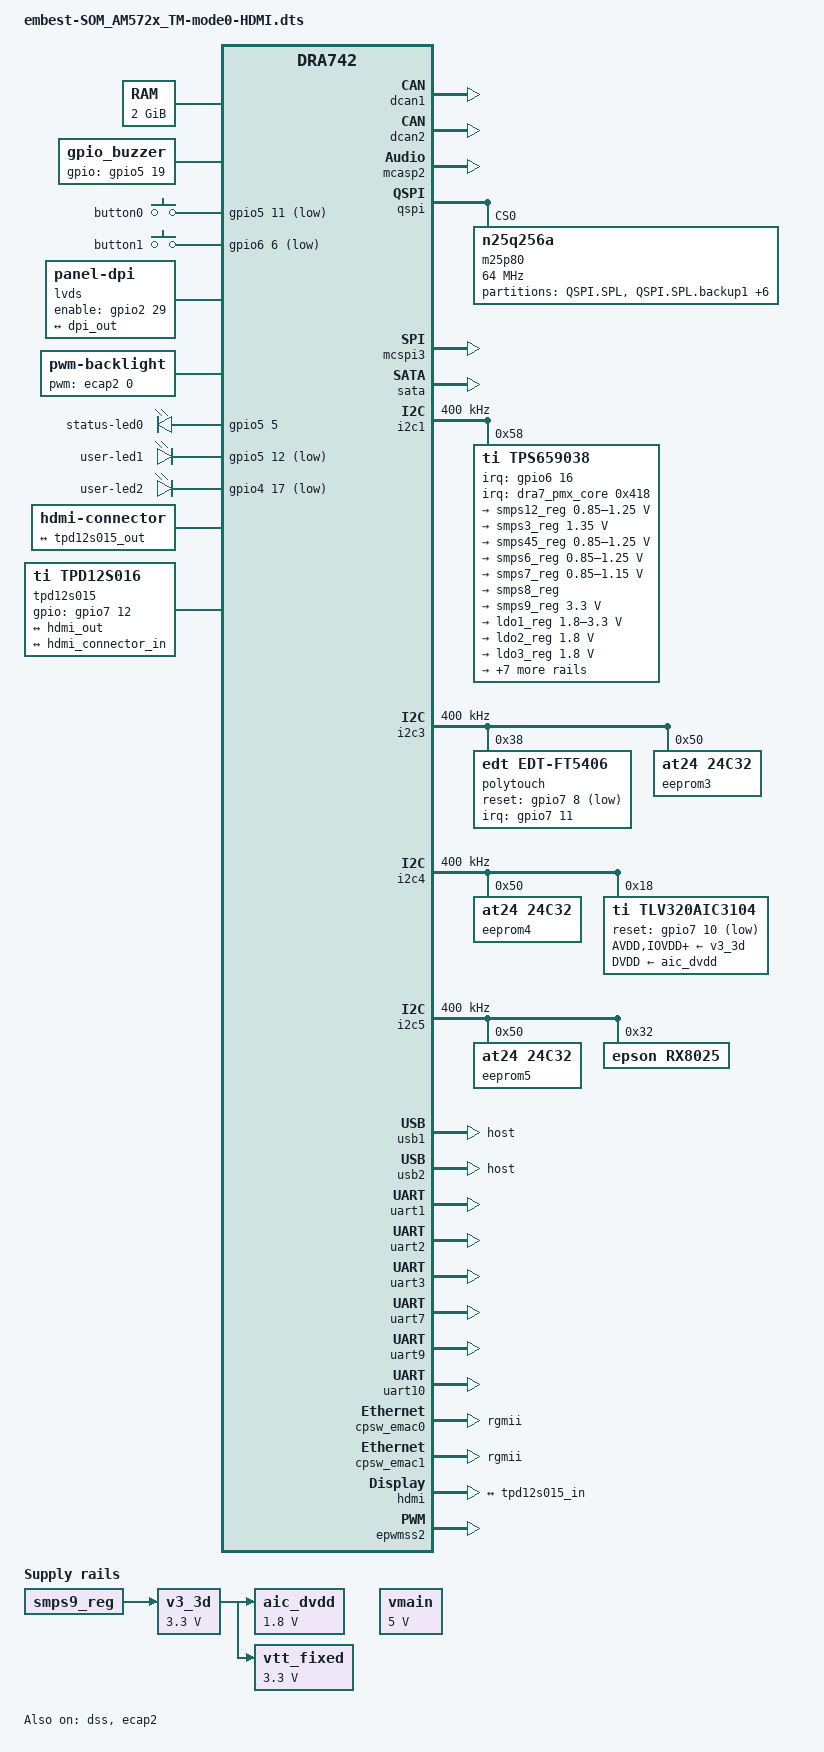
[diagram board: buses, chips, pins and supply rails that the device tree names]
/*
 * Copyright (C) 2017-2017 Embest - http://www.embest-tech.com/
 *
 * This program is free software; you can redistribute it and/or modify
 * it under the terms of the GNU General Public License version 2 as
 * published by the Free Software Foundation.
 */
/dts-v1/;

#include "dra74x.dtsi"
#include <dt-bindings/gpio/gpio.h>
#include <dt-bindings/interrupt-controller/irq.h>
#include "am57xx-idk-common.dtsi"

/ {
	compatible = "ti,am572x-beagle-x15", "ti,am5728", "ti,dra742", "ti,dra74", "ti,dra7";

	chosen {
		stdout-path = &uart3;
	};

	memory@0 {
		device_type = "memory";
		reg = <0x0 0x80000000 0x0 0x80000000>;		/*** Is size 2G? */
	};

	aliases {
//		display0 = &lcd0;
		display0 = &hdmi0;
		sound0 = &sound0;
		sound1 = &hdmi;
	};

	buzzer {
		pinctrl-names = "default";
		pinctrl-0 = <&buzzer_pin>;
		compatible = "gpio_buzzer";
		gpios = <&gpio5 19 GPIO_ACTIVE_HIGH>;
	};

	gpio_buttons: gpio_buttons@0 {
		compatible = "gpio-keys";
		pinctrl-names = "default";
	        pinctrl-0 = <&gpio_keys>;
		#address-cells = <1>;
		#size-cells = <0>;

		switch@1 {
			label = "button0";
			linux,code = <0x100>;
			gpios = <&gpio5 11 GPIO_ACTIVE_LOW>;
		};

		switch@2 {
			label = "button1";
			linux,code = <0x101>;
			gpios = <&gpio6 6 GPIO_ACTIVE_LOW>;
		};
	};

	sound0: sound0 {
                compatible = "simple-audio-card";
                simple-audio-card,name = "AM5728-Embest-TLV";
                simple-audio-card,widgets =
                        "Line", "Line Out",
			"Line", "Line In";
                simple-audio-card,routing =
			"Line Out",	"LLOUT",
			"Line Out",	"RLOUT",
			"MIC2L",	"Line In",
			"MIC2R",	"Line In";
                simple-audio-card,format = "dsp_b";
                simple-audio-card,bitclock-master = <&sound0_master>;
                simple-audio-card,frame-master = <&sound0_master>;
                simple-audio-card,bitclock-inversion;

                simple-audio-card,cpu {
                        sound-dai = <&mcasp2>;
                };

		sound0_master: simple-audio-card,codec {
                        sound-dai = <&tlv320aic3104>;
//			clocks = <&mcasp2_ahclk_mux>;
			clocks = <&clkout2_clk>;
                };
        };

	lcd0: display {
		compatible = "panel-dpi";
		label = "lvds";
 
		/*If there is a enable pin in LCD sch. you need to add this!*/
		pinctrl-names = "default";
		pinctrl-0 = <&lcd_enable_pin>;
		enable-gpios = <&gpio2 29 GPIO_ACTIVE_HIGH>;

		panel-timing {
			clock-frequency = <47500000>;
			hactive = <1024>;
			vactive = <600>;
			hfront-porch = <64>;
			hback-porch = <16>;
			hsync-len = <48>;
			vback-porch = <64>;
			vfront-porch = <16>;
			vsync-len = <3>;
			hsync-active = <1>;
			vsync-active = <1>;
			de-active = <1>;
			pixelclk-active = <1>;
		};

		port {
			lcd_in: endpoint {
				remote-endpoint = <&dpi_out>;
			};
		};
	};

	backlight {
		compatible = "pwm-backlight";
		pwms = <&ecap2 0 50000 0>;

		brightness-levels = <0 10 50 100 150 200 220 240 255>;

		default-brightness-level = <4>;
	};

	vmain: fixedregulator-vmain {
		compatible = "regulator-fixed";
		regulator-name = "VMAIN";
		regulator-min-microvolt = <5000000>;
		regulator-max-microvolt = <5000000>;
		regulator-always-on;
		regulator-boot-on;
	};

	v3_3d: fixedregulator-v3_3d {
		compatible = "regulator-fixed";
		regulator-name = "V3_3D";
		vin-supply = <&smps9_reg>;
		regulator-min-microvolt = <3300000>;
		regulator-max-microvolt = <3300000>;
		regulator-always-on;
		regulator-boot-on;
	};

	aic_dvdd: fixedregulator-aic_dvdd {
		compatible = "regulator-fixed";
		regulator-name = "aic_dvdd_fixed";
		vin-supply = <&v3_3d>;
		regulator-min-microvolt = <1800000>;
		regulator-max-microvolt = <1800000>;
		regulator-always-on;
                regulator-boot-on;

	};

	vtt_fixed: fixedregulator-vtt {
		/* TPS51200 */
		compatible = "regulator-fixed";
		regulator-name = "vtt_fixed";
		vin-supply = <&v3_3d>;
		regulator-min-microvolt = <3300000>;
		regulator-max-microvolt = <3300000>;
		regulator-always-on;
		regulator-boot-on;
	};

	src_clk_x1: src_clk_x1 {
		#clock-cells = <0>;
		compatible = "fixed-clock";
		clock-frequency = <20000000>;
	};
	
	leds {
		pinctrl-names = "default";
		pinctrl-0 = <&leds_pins_default>;
		compatible = "gpio-leds";
		led@0 {
			label = "status-led0";
			gpios = <&gpio5 5 GPIO_ACTIVE_HIGH>;
			linux,default-trigger = "heartbeat";
			default-state = "off";
		};

		led@1 {
			label = "user-led1";
			gpios = <&gpio5 12 GPIO_ACTIVE_LOW>;
			default-state = "off";
		};

		led@2 {
			label = "user-led2";
			gpios = <&gpio4 17 GPIO_ACTIVE_LOW>;
			default-state = "off";
		};
	};

	hdmi0: connector@0 {
		compatible = "hdmi-connector";
		label = "hdmi";

		type = "a";

		port {
			hdmi_connector_in: endpoint {
				remote-endpoint = <&tpd12s015_out>;
			};
		};
	};

	tpd12s015: encoder@0 {
		compatible = "ti,tpd12s016", "ti,tpd12s015";

		gpios = <0>, /* optional CT_CP_HPD */
			<0>, /* optional LS_OE */
			<&gpio7 12 GPIO_ACTIVE_HIGH>;	/* HPD */

		ports {
			#address-cells = <1>;
			#size-cells = <0>;

			port@0 {
				reg = <0>;

				tpd12s015_in: endpoint@0 {
					remote-endpoint = <&hdmi_out>;
				};
			};

			port@1 {
				reg = <1>;

				tpd12s015_out: endpoint@0 {
					remote-endpoint = <&hdmi_connector_in>;
				};
			};
		};
	};


};

&mmc1 {
	pinctrl-names = "default", "hs", "sdr12", "sdr25", "sdr50", "ddr50", "sdr104";
	pinctrl-0 = <&mmc1_pins_default>;
	pinctrl-1 = <&mmc1_pins_hs>;
	pinctrl-2 = <&mmc1_pins_sdr12>;
	pinctrl-3 = <&mmc1_pins_sdr25>;
	pinctrl-4 = <&mmc1_pins_sdr50>;
	pinctrl-5 = <&mmc1_pins_ddr50 &mmc1_iodelay_ddr50_conf>;
	pinctrl-6 = <&mmc1_pins_sdr104 &mmc1_iodelay_sdr104_conf>;
	max-frequency = <24000000>;
};

&mmc2 {
	pinctrl-names = "default", "hs", "ddr_1_8v";
	pinctrl-0 = <&mmc2_pins_default>;
	pinctrl-1 = <&mmc2_pins_hs>;
	pinctrl-2 = <&mmc2_pins_ddr_1_8v &mmc2_iodelay_ddr_1_8v_conf>;
};

&dcan1 {
	status = "okay";
	pinctrl-names = "default", "sleep", "active";
	pinctrl-0 = <&dcan1_pins_sleep>;
	pinctrl-1 = <&dcan1_pins_sleep>;
	pinctrl-2 = <&dcan1_pins_default>;
};

&dcan2 {
	status = "okay";
	pinctrl-names = "default", "sleep", "active";
	pinctrl-0 = <&dcan2_pins_sleep>;
	pinctrl-1 = <&dcan2_pins_sleep>;
	pinctrl-2 = <&dcan2_pins_default>;
};

&mcasp2 {
        #sound-dai-cells = <0>;
        pinctrl-names = "default","sleep";
        pinctrl-0 = <&mcasp2_pins_default>;
	pinctrl-1 = <&mcasp2_pins_sleep>;
        status = "okay";

	assigned-clocks = <&mcasp2_ahclkx_mux>;
	assigned-clock-parents = <&sys_clkin2>;

        op-mode = <0>;  /* MCASP_IIS_MODE */
        tdm-slots = <2>;
        /* 4 serializers */
        serial-dir = <  /* 0: INACTIVE, 1: TX, 2: RX */
                1 2 0 0
        >;
        tx-num-evt = <32>;
        rx-num-evt = <32>;
};

&qspi {
	status = "okay";

	pinctrl-names = "default";
	pinctrl-0 = <&qspi1_pins_default>;

	spi-max-frequency = <64000000>;
	m25p80@0 {
		compatible = "n25q256a";
		spi-max-frequency = <64000000>;
		reg = <0>;
		spi-tx-bus-width = <1>;
		spi-rx-bus-width = <4>;
		#address-cells = <1>;
		#size-cells = <1>;

		/*
		 * MTD partition table.
		 */
		partition@0 {
			label = "QSPI.SPL";
			reg = <0x00000000 0x000030000>;
		};
		partition@1 {
			label = "QSPI.SPL.backup1";
			reg = <0x00030000 0x00010000>;
		};
		partition@2 {
			label = "QSPI.u-boot";
			reg = <0x00040000 0x00100000>;
		};
		partition@3 {
			label = "QSPI.u-boot-spl-os";
			reg = <0x00140000 0x00080000>;
		};
		partition@4 {
			label = "QSPI.u-boot-env";
			reg = <0x001C0000 0x00010000>;
		};
		partition@5 {
			label = "QSPI.u-boot-env.backup1";
			reg = <0x001D0000 0x00010000>;
		};
		partition@6 {
			label = "QSPI.kernel";
			reg = <0x001E0000 0x0800000>;
		};
		partition@7 {
			label = "QSPI.user-data";
			reg = <0x009E0000 0x1620000>;
		};
	};
};

&mcspi3 {
	status = "okay";
        pinctrl-names = "default";
        pinctrl-0 = <&spi3_pins_default>;
};

&sata {
	status = "okay";
};

&i2c1 {
	status = "okay";
	clock-frequency = <400000>;

	tps659038: tps659038@58 {
		compatible = "ti,tps659038";
		reg = <0x58>;
		interrupts-extended = <&gpio6 16 IRQ_TYPE_LEVEL_HIGH
			       &dra7_pmx_core 0x418>;
		#interrupt-cells = <2>;
		interrupt-controller;
		ti,system-power-controller;
		ti,palmas-override-powerhold;

		tps659038_pmic {
			compatible = "ti,tps659038-pmic";

			smps12-in-supply = <&vmain>;
			smps3-in-supply = <&vmain>;
			smps45-in-supply = <&vmain>;
			smps6-in-supply = <&vmain>;
			smps7-in-supply = <&vmain>;
			smps8-in-supply = <&vmain>;
			smps9-in-supply = <&vmain>;
			ldo1-in-supply = <&vmain>;
			ldo2-in-supply = <&vmain>;
			ldo3-in-supply = <&vmain>;
			ldo4-in-supply = <&vmain>;
			ldo9-in-supply = <&vmain>;
			ldoln-in-supply = <&vmain>;
			ldousb-in-supply = <&vmain>;
			ldortc-in-supply = <&vmain>;

			regulators {
				smps12_reg: smps12 {
					/* VDD_MPU */
					regulator-name = "smps12";
					regulator-min-microvolt = <850000>;
					regulator-max-microvolt = <1250000>;
					regulator-always-on;
					regulator-boot-on;
				};

				smps3_reg: smps3 {
					/* VDD_DDR EMIF1 EMIF2 */
					regulator-name = "smps3";
					regulator-min-microvolt = <1350000>;
					regulator-max-microvolt = <1350000>;
					regulator-always-on;
					regulator-boot-on;
				};

				smps45_reg: smps45 {
					/* VDD_DSPEVE on AM572 */
					/* VDD_IVA + VDD_DSP on AM571 */
					regulator-name = "smps45";
					regulator-min-microvolt = <850000>;
					regulator-max-microvolt = <1250000>;
					regulator-always-on;
					regulator-boot-on;
				};

				smps6_reg: smps6 {
					/* VDD_GPU */
					regulator-name = "smps6";
					regulator-min-microvolt = <850000>;
					regulator-max-microvolt = <1250000>;
					regulator-always-on;
					regulator-boot-on;
				};

				smps7_reg: smps7 {
					/* VDD_CORE */
					regulator-name = "smps7";
					regulator-min-microvolt = <850000>;	/*** 1.15V */
					regulator-max-microvolt = <1150000>;
					regulator-always-on;
					regulator-boot-on;
				};

				smps8_reg: smps8 {
					/* 5728 - VDD_IVAHD */			/*** 1.06V */
					/* 5718 - N.C. test point */
					regulator-name = "smps8";
				};

				smps9_reg: smps9 {
					/* VDD_3_3D */
					regulator-name = "smps9";
					regulator-min-microvolt = <3300000>;
					regulator-max-microvolt = <3300000>;
					regulator-always-on;
					regulator-boot-on;
				};

				ldo1_reg: ldo1 {
					/* VDDSHV8 - VSDMMC  */
					/* NOTE: on rev 1.3a, data supply */
					regulator-name = "ldo1";
					regulator-min-microvolt = <1800000>;
					regulator-max-microvolt = <3300000>;
					regulator-boot-on;
					regulator-always-on;
				};

				ldo2_reg: ldo2 {
					/* VDDSH18V */
					regulator-name = "ldo2";
					regulator-min-microvolt = <1800000>;
					regulator-max-microvolt = <1800000>;
					regulator-always-on;
					regulator-boot-on;
				};

				ldo3_reg: ldo3 {
					/* R1.3a 572x V1_8PHY_LDO3: USB, SATA */
					regulator-name = "ldo3";
					regulator-min-microvolt = <1800000>;
					regulator-max-microvolt = <1800000>;
					regulator-always-on;
					regulator-boot-on;
				};

				ldo4_reg: ldo4 {
					/* R1.3a 572x V1_8PHY_LDO4: PCIE, HDMI*/
					regulator-name = "ldo4";
					regulator-min-microvolt = <1800000>;
					regulator-max-microvolt = <1800000>;
					regulator-always-on;
					regulator-boot-on;
				};

				/* LDO5-8 unused */

				ldo9_reg: ldo9 {
					/* VDD_RTC  */
					regulator-name = "ldo9";
					regulator-min-microvolt = <840000>;
					regulator-max-microvolt = <1160000>;
					regulator-always-on;
					regulator-boot-on;
				};

				ldoln_reg: ldoln {
					/* VDDA_1V8_PLL */
					regulator-name = "ldoln";
					regulator-min-microvolt = <1800000>;
					regulator-max-microvolt = <1800000>;
					regulator-always-on;
					regulator-boot-on;
				};

				ldousb_reg: ldousb {
					/* VDDA_3V_USB: VDDA_USBHS33 */
					regulator-name = "ldousb";
					regulator-min-microvolt = <3300000>;
					regulator-max-microvolt = <3300000>;
					regulator-always-on;
					regulator-boot-on;
				};

				ldortc_reg: ldortc {
					/* VDDA_RTC  */
					regulator-name = "ldortc";
					regulator-min-microvolt = <1800000>;
					regulator-max-microvolt = <1800000>;
					regulator-always-on;
					regulator-boot-on;
				};

				regen1: regen1 {
					/* VDD_3V3_ON */
					regulator-name = "regen1";
					regulator-boot-on;
					regulator-always-on;
				};

				regen2: regen2 {
					/* Needed for PMIC internal resource */
					regulator-name = "regen2";
					regulator-boot-on;
					regulator-always-on;
				};
			};
		};
/*** need to modify in i2c1 */
		tps659038_rtc: tps659038_rtc {
			compatible = "ti,palmas-rtc";
			interrupt-parent = <&tps659038>;
			interrupts = <8 IRQ_TYPE_EDGE_FALLING>;
			wakeup-source;
		};

		tps659038_pwr_button: tps659038_pwr_button {
			compatible = "ti,palmas-pwrbutton";
			interrupt-parent = <&tps659038>;
			interrupts = <1 IRQ_TYPE_EDGE_FALLING>;
			wakeup-source;
			ti,palmas-long-press-seconds = <12>;
		};

		tps659038_gpio: tps659038_gpio {
			compatible = "ti,palmas-gpio";
			gpio-controller;
			#gpio-cells = <2>;
		};

		extcon_usb2: tps659038_usb {
			compatible = "ti,palmas-usb-vid";
			ti,enable-vbus-detection;
			ti,enable-id-detection;
			/* ID & VBUS GPIOs provided in board dts */
		};
	};

	tc358778: tc358778@0e {
		compatible = "toshiba,tc358778", "toshiba,tc358768";
		reg = <0x0e>;
		status = "disabled";

		clocks = <&src_clk_x1>;
		clock-names = "refclk";

		ports {
			#address-cells = <1>;
			#size-cells = <0>;

			port@0 {
				reg = <0>;
				tc358778_in: endpoint {
				/*	remote-endpoint = <&dpi_out>;
					data-lines = <24>; */
				};
			};

			port@1 {
				reg = <1>;
				tc358778_out: endpoint {
					/*
					 * lanes and remote-endpoint defined per
					 * panel.
					 */
				};
			};
		};
	};
};

&i2c3 {
	/*** designed for I2C touch Interface*/
	status = "okay";
	clock-frequency = <400000>;
	pinctrl-names = "default";
	pinctrl-0 = <&i2c3_pins>;

	polytouch: edt-ft5x06@38 {
		compatible = "edt,edt-ft5406", "edt,edt-ft5x06";
		reg = <0x38>;
		pinctrl-names = "default";
		pinctrl-0 = <&edt_ft5x06_pins>;
		interrupt-parent = <&gpio7>;
		interrupts = <11 IRQ_TYPE_EDGE_FALLING>;
		reset-gpios = <&gpio7 8 GPIO_ACTIVE_LOW>;
	};

	eeprom3: eeprom@50 {
		compatible = "at24,24c32";
		reg = <0x50>;
	};
};

&i2c4 {
	status = "okay";
	clock-frequency = <400000>;
	pinctrl-names = "default";
	pinctrl-0 = <&i2c4_pins>;

	eeprom4: eeprom@50 {
		compatible = "at24,24c32";
		reg = <0x50>;
	};

	/* Audio */
	tlv320aic3104: tlv320aic3104@18 {
                #sound-dai-cells = <0>;
                compatible = "ti,tlv320aic3104";
                reg = <0x18>;
                pinctrl-names = "default";
                pinctrl-0 = <&tlv_rst_pin_default>;
                gpio-reset = <&gpio7 10 GPIO_ACTIVE_LOW>;
                status = "okay";
                adc-settle-ms = <40>;
		ai3x-micbias-vg = <0x02>;
                assigned-clocks = <&clkoutmux2_clk_mux>;
                assigned-clock-parents = <&sys_clk2_dclk_div>;

                AVDD-supply = <&v3_3d>;
                IOVDD-supply = <&v3_3d>;
                DRVDD-supply = <&v3_3d>;
                DVDD-supply = <&aic_dvdd>;
        };

	/* Parallel Camera */
	/* MIPI CSI */
};

&i2c5 {
	status = "okay";
	clock-frequency = <400000>;
	pinctrl-names = "default";
	pinctrl-0 = <&i2c5_pins>;

	eeprom5: eeprom@50 {
		compatible = "at24,24c32";
		reg = <0x50>;
	};

	rx8025: rx8025@32 {
		compatible = "epson,rx8025";
		reg = <0x32>;
		status = "okay";
	};
};

&usb2_phy1 {
	phy-supply = <&ldousb_reg>;
};

&usb2_phy2 {
	phy-supply = <&ldousb_reg>;
};

&usb1 {
	dr_mode = "host";
};

&usb2 {
	/*
	 * Stand alone usage is peripheral only.
	 * However, with some resistor modifications
	 * this port can be used via expansion connectors
	 * as "host" or "dual-role". If so, provide
	 * the necessary dr_mode override in the expansion
	 * board's DT.
	 */
	dr_mode = "host";
};

&uart1 {
	status = "okay";
	pinctrl-names = "default";
	pinctrl-0 = <&uart1_pins>;
};

&uart2 {
	/*** designed for WIFI-BT */
	status = "okay";
	pinctrl-names = "default";
	pinctrl-0 = <&uart2_pins>;
};

&uart3 {
	/*** debug serial port */
	status = "okay";
	interrupts-extended = <&crossbar_mpu GIC_SPI 69 IRQ_TYPE_LEVEL_HIGH
			       &dra7_pmx_core 0x248>;
};

&uart7 {
	pinctrl-names = "default";
	pinctrl-0 = <&uart7_pins>;
	status = "okay";
};

&uart9 {
	pinctrl-names = "default";
	pinctrl-0 = <&uart9_pins>;
	status = "okay";
};

&uart10 {
	status = "okay";
	pinctrl-names = "default";
	pinctrl-0 = <&uart10_pins>;

};

&cpsw_emac0 {
	phy_id = <&davinci_mdio>, <4>;
	phy-mode = "rgmii";
	dual_emac_res_vlan = <1>;
};

&cpsw_emac1 {
	phy_id = <&davinci_mdio>, <6>;
	phy-mode = "rgmii";
	dual_emac_res_vlan = <2>;
};

&hdmi {
	status = "okay";
	/*
	 * XXX: Support AM572x-Rev 1.2a. this is wrong for AM571x-rev 1.3a,
	 * AM572x-Rev1.3a - but thanks to always-on, they work.
	 * TODO: SWITCH TO LDO4 once rev 1.2a is deprecated
	 * (on rev 1.3a availability)
	 */
	vdda-supply = <&ldo3_reg>;

	port {
		hdmi_out: endpoint {
			remote-endpoint = <&tpd12s015_in>;
		};
	};
};


&dss {
	status = "okay";
	pinctrl-names = "default";
	pinctrl-0 = <&dss_dpi_pins>;

	vdda_video-supply = <&ldoln_reg>;

	ports {
		#address-cells = <1>;
		#size-cells = <0>;

		port@0 {
			reg = <0>;

			dpi_out: endpoint {
				remote-endpoint = <&lcd_in>;
				data-lines = <24>;
			};
		};
	};
};

&epwmss2 {
	status = "okay";
};

&ecap2 {
	status = "okay";
	pinctrl-names = "default";
	pinctrl-0 = <&ehrpwm2_pins>;
};

&dra7_pmx_core {
	gpio_keys: gpio_keys {
		pinctrl-single,pins = <
                        0x2d8 (PIN_INPUT_PULLUP | MUX_MODE14)  /* mcasp1_axr9.gpio5_11 */
			0x2f0 (PIN_INPUT_PULLUP | MUX_MODE14)  /* mcasp1_axr5.gpio6_6 */
                >;
	};

	buzzer_pin: buzzer_pin {
		pinctrl-single,pins = <
			0x24c (PIN_OUTPUT_PULLUP | MUX_MODE14)	/* uart3_txd.gpio5_19 */
		>;
	};

	edt_ft5x06_pins: edt_ft5x06_pins {
	       pinctrl-single,pins = <
        	   	0x3a8 (PIN_OUTPUT | MUX_MODE14) /* spi1_cs1.gpio7_8 */
           		0x3b4 (PIN_INPUT | MUX_MODE14) /* spi1_sclk.gpio7_11 */
       		>;
	};

	tlv_rst_pin_default: tlv_rst_pin_default {
		pinctrl-single,pins = <
			0x3b0 (PIN_OUTPUT_PULLUP | MUX_MODE14) /* spi1_cs0.gpio7_10 */
		>;
	};

	mcasp2_pins_default: mcasp2_pins_default {
		pinctrl-single,pins = <
			0x298 (PIN_OUTPUT_PULLDOWN | MUX_MODE3) /* xref_clk1.mcasp2_ahclkx */
			0x2f4 (PIN_INPUT_PULLDOWN | MUX_MODE0) /* mcasp2_aclkx.mcasp2_aclkx */
			0x304 (PIN_OUTPUT_PULLDOWN | MUX_MODE0) /* mcasp2_axr0.mcasp2_axr0 */
			0x308 (PIN_INPUT_PULLDOWN | MUX_MODE0) /* mcasp2_axr1.mcasp2_axr1 */
			0x2f8 (PIN_INPUT_PULLDOWN | MUX_MODE0) /* mcasp2_fsx.mcasp2_fsx */
		>;
	};

	mcasp2_pins_sleep: mcasp2_pins_sleep {
                pinctrl-single,pins = <
                        0x298 (PIN_INPUT | MUX_MODE15) /* xref_clk1.mcasp2_ahclkx */
                        0x2f4 (PIN_INPUT | MUX_MODE15) /* mcasp2_aclkx.mcasp2_aclkx */
                        0x304 (PIN_INPUT | MUX_MODE15) /* mcasp2_axr0.mcasp2_axr0 */
                        0x308 (PIN_INPUT | MUX_MODE15) /* mcasp2_axr1.mcasp2_axr1 */
                        0x2f8 (PIN_INPUT | MUX_MODE15) /* mcasp2_fsx.mcasp2_fsx */
                >;
        };

	lcd_enable_pin: lcd_enable_pin {
		pinctrl-single,pins = <
			DRA7XX_CORE_IOPAD(0x371c, PIN_OUTPUT | MUX_MODE14) /* B17:mcasp2_axr6, gpio2_29 */
			DRA7XX_CORE_IOPAD(0x35d0, PIN_OUTPUT_PULLUP | MUX_MODE14) /* B11:vout1_fld, gpio4_21*/
		>;
	};

	ehrpwm2_pins: ehrpwm2_pins {
		pinctrl-single,pins = <
			DRA7XX_CORE_IOPAD(0x37a0, (PIN_OUTPUT | MUX_MODE10)) /* mmc3_dat7.eCAP3_in_PWM3_out (AB5) */
		>;
	};

       dss_dpi_pins: dss_pins {
               pinctrl-single,pins = <
                       DRA7XX_CORE_IOPAD(0x35C8, PIN_OUTPUT_PULLUP | MUX_MODE0) /* vout1_clk */
                       DRA7XX_CORE_IOPAD(0x35CC, PIN_OUTPUT_PULLUP | MUX_MODE0) /* vout1_de */
//                       DRA7XX_CORE_IOPAD(0x35D0, PIN_OUTPUT_PULLUP | MUX_MODE0) /* vout1_fld */
                       DRA7XX_CORE_IOPAD(0x35D4, PIN_OUTPUT_PULLUP | MUX_MODE0) /* vout1_hsync */
                       DRA7XX_CORE_IOPAD(0x35D8, PIN_OUTPUT_PULLUP | MUX_MODE0) /* vout1_vsync */
                       DRA7XX_CORE_IOPAD(0x35DC, PIN_OUTPUT_PULLUP | MUX_MODE0) /* vout1_d0 */
                       DRA7XX_CORE_IOPAD(0x35E0, PIN_OUTPUT_PULLUP | MUX_MODE0) /* vout1_d1 */
                       DRA7XX_CORE_IOPAD(0x35E4, PIN_OUTPUT_PULLUP | MUX_MODE0) /* vout1_d2 */
                       DRA7XX_CORE_IOPAD(0x35E8, PIN_OUTPUT_PULLUP | MUX_MODE0) /* vout1_d3 */
                       DRA7XX_CORE_IOPAD(0x35EC, PIN_OUTPUT_PULLUP | MUX_MODE0) /* vout1_d4 */
                       DRA7XX_CORE_IOPAD(0x35F0, PIN_OUTPUT_PULLUP | MUX_MODE0) /* vout1_d5 */
                       DRA7XX_CORE_IOPAD(0x35F4, PIN_OUTPUT_PULLUP | MUX_MODE0) /* vout1_d6 */
                       DRA7XX_CORE_IOPAD(0x35F8, PIN_OUTPUT_PULLUP | MUX_MODE0) /* vout1_d7 */
                       DRA7XX_CORE_IOPAD(0x35FC, PIN_OUTPUT_PULLUP | MUX_MODE0) /* vout1_d8 */
                       DRA7XX_CORE_IOPAD(0x3600, PIN_OUTPUT_PULLUP | MUX_MODE0) /* vout1_d9 */
                       DRA7XX_CORE_IOPAD(0x3604, PIN_OUTPUT_PULLUP | MUX_MODE0) /* vout1_d10 */
                       DRA7XX_CORE_IOPAD(0x3608, PIN_OUTPUT_PULLUP | MUX_MODE0) /* vout1_d11 */
                       DRA7XX_CORE_IOPAD(0x360C, PIN_OUTPUT_PULLUP | MUX_MODE0) /* vout1_d12 */
                       DRA7XX_CORE_IOPAD(0x3610, PIN_OUTPUT_PULLUP | MUX_MODE0) /* vout1_d13 */
                       DRA7XX_CORE_IOPAD(0x3614, PIN_OUTPUT_PULLUP | MUX_MODE0) /* vout1_d14 */
                       DRA7XX_CORE_IOPAD(0x3618, PIN_OUTPUT_PULLUP | MUX_MODE0) /* vout1_d15 */
                       DRA7XX_CORE_IOPAD(0x361C, PIN_OUTPUT_PULLUP | MUX_MODE0) /* vout1_d16 */
                       DRA7XX_CORE_IOPAD(0x3620, PIN_OUTPUT_PULLUP | MUX_MODE0) /* vout1_d17 */
                       DRA7XX_CORE_IOPAD(0x3624, PIN_OUTPUT_PULLUP | MUX_MODE0) /* vout1_d18 */
                       DRA7XX_CORE_IOPAD(0x3628, PIN_OUTPUT_PULLUP | MUX_MODE0) /* vout1_d19 */
                       DRA7XX_CORE_IOPAD(0x362C, PIN_OUTPUT_PULLUP | MUX_MODE0) /* vout1_d20 */
                       DRA7XX_CORE_IOPAD(0x3630, PIN_OUTPUT_PULLUP | MUX_MODE0) /* vout1_d21 */
                       DRA7XX_CORE_IOPAD(0x3634, PIN_OUTPUT_PULLUP | MUX_MODE0) /* vout1_d22 */
                       DRA7XX_CORE_IOPAD(0x3638, PIN_OUTPUT_PULLUP | MUX_MODE0) /* vout1_d23 */
		>;
	};

	leds_pins_default: leds_pins_default {
		pinctrl-single,pins = <
			DRA7XX_CORE_IOPAD(0x36c0, (PIN_OUTPUT | MUX_MODE14)) /* mcasp1_axr3.gpio5_5 */
			DRA7XX_CORE_IOPAD(0x16dc, (PIN_OUTPUT | MUX_MODE14)) /* mcasp1_axr10.gpio5_12 */
			DRA7XX_CORE_IOPAD(0x16e0, (PIN_OUTPUT | MUX_MODE14)) /* mcasp1_axr11.gpio4_17 */
		>;
	};

	/* SPI3 pins */
	spi3_pins_default: spi3_pins_default {
		pinctrl-single,pins = <
			DRA7XX_CORE_IOPAD(0x3740, (PIN_OUTPUT_PULLUP | MUX_MODE2)) /* mcasp4_axr1.spi3_cs0 */
			DRA7XX_CORE_IOPAD(0x3734, (PIN_OUTPUT_PULLUP | MUX_MODE2)) /* mcasp4_aclkx.spi3_sclk */
			DRA7XX_CORE_IOPAD(0x373c, (PIN_OUTPUT_PULLUP | MUX_MODE2)) /* mcasp4_axr0.spi3_d0 */
			DRA7XX_CORE_IOPAD(0x3738, (PIN_INPUT_PULLUP | MUX_MODE2)) /* mcasp4_fsx.spi3_d1 */
		>;
	};

	/* I2C3 pins */
	i2c3_pins: i2c3_pins {
		pinctrl-single,pins = <
			DRA7XX_CORE_IOPAD(0x3778, (PIN_INPUT_PULLUP | MUX_MODE2)) /* gpio6_11.i2c3_scl */
			DRA7XX_CORE_IOPAD(0x3774, (PIN_INPUT_PULLUP | MUX_MODE2)) /* gpio6_10.i2c3_sda */
		>;
	};

	/* I2C4 pins */
	i2c4_pins: i2c4_pins {
		pinctrl-single,pins = <
			DRA7XX_CORE_IOPAD(0x36b0, (PIN_INPUT | MUX_MODE10)) /* mcasp1_fsr.i2c4_scl */
			DRA7XX_CORE_IOPAD(0x36ac, (PIN_INPUT | MUX_MODE10)) /* mcasp1_aclkr.i2c4_sda */
		>;
	};

	/* I2C5 pins */
	i2c5_pins: i2c5_pins {
		pinctrl-single,pins = <
			DRA7XX_CORE_IOPAD(0x3748, (PIN_INPUT | MUX_MODE4)) /* mcasp5_fsx.i2c5_scl */
			DRA7XX_CORE_IOPAD(0x3744, (PIN_INPUT | MUX_MODE4)) /* mcasp5_aclkx.i2c5_sda */
		>;
	};


	/* UART1 pins: rxd & txd */
	uart1_pins: uart1_pins {
		pinctrl-single,pins = <
			DRA7XX_CORE_IOPAD(0x37e0, (PIN_INPUT_PULLUP  | MUX_MODE0)) /* uart1_rxd.uart1_rxd */
			DRA7XX_CORE_IOPAD(0x37e4, (PIN_OUTPUT_PULLUP | MUX_MODE0)) /* uart1_txd.uart1_txd */
		>;
	};

	/* UART2 pins: rxd & txd */
	uart2_pins: uart2_pins {
		pinctrl-single,pins = <
			DRA7XX_CORE_IOPAD(0x37f0, (PIN_INPUT_PULLUP  | MUX_MODE4)) /* uart2_rxd.uart2_rxd */
			DRA7XX_CORE_IOPAD(0x37f4, (PIN_OUTPUT_PULLUP | MUX_MODE0)) /* uart2_txd.uart2_txd */
		>;
	};

	/* UART7 pins: rxd & txd */
	uart7_pins: uart7_pins {
		pinctrl-single,pins = <
			DRA7XX_CORE_IOPAD(0x3724, (PIN_INPUT  | MUX_MODE3)) /* mcasp3_aclkx.uart7_rxd */
			DRA7XX_CORE_IOPAD(0x3728, (PIN_OUTPUT | MUX_MODE3)) /* mcasp1_fsx.uart7_txd */
			DRA7XX_CORE_IOPAD(0x3730, (PIN_OUTPUT_PULLDOWN | MUX_MODE3)) /* mcasp3_axr1.uart9_rtsn */
		>;
	};

	/* UART9 pins: rxd & txd */
	uart9_pins: uart9_pins {
		pinctrl-single,pins = <
			DRA7XX_CORE_IOPAD(0x37e8, (PIN_INPUT  | MUX_MODE2)) /* uart1_ctsn.uart9_rxd */
			DRA7XX_CORE_IOPAD(0x37ec, (PIN_OUTPUT | MUX_MODE2)) /* uart1_rtsn.uart9_txd */
			DRA7XX_CORE_IOPAD(0x3750, (PIN_OUTPUT_PULLDOWN | MUX_MODE3)) /* mcasp5_axr1.uart9_rtsn */
		>;
	};

	/* UART10 pins: rxd & txd */
	uart10_pins: uart10_pins {
	       pinctrl-single,pins = <
		       DRA7XX_CORE_IOPAD(0x3794, (PIN_INPUT_PULLUP  | MUX_MODE2)) /* mmc3_data4.uart10_rxd */
		       DRA7XX_CORE_IOPAD(0x3798, (PIN_OUTPUT_PULLUP | MUX_MODE2)) /* mmc3_data5.uart10_txd */
	       >;
	};

	dcan1_pins_default: dcan1_pins_default {
		pinctrl-single,pins = <
			DRA7XX_CORE_IOPAD(0x37d0, PIN_OUTPUT_PULLUP | MUX_MODE0)	/* dcan1_tx */
			DRA7XX_CORE_IOPAD(0x37d4, PIN_INPUT_PULLUP | MUX_MODE0)		/* dcan1_rx */
		>;
	};

	dcan1_pins_sleep: dcan1_pins_sleep {
		pinctrl-single,pins = <
			DRA7XX_CORE_IOPAD(0x37d0, MUX_MODE15 | PULL_UP)	/* dcan1_tx.off */
			DRA7XX_CORE_IOPAD(0x37d4, MUX_MODE15 | PULL_UP)	/* dcan1_rx.off */
		>;
	};

	dcan2_pins_default: dcan2_pins_default {
		pinctrl-single,pins = <
			DRA7XX_CORE_IOPAD(0x3688, PIN_OUTPUT_PULLUP | MUX_MODE2)	/* gpio6_14,dcan2_tx */
			DRA7XX_CORE_IOPAD(0x368c, PIN_INPUT_PULLUP | MUX_MODE2)		/* gpio6_14,dcan2_rx */
		>;
	};

	dcan2_pins_sleep: dcan2_pins_sleep {
		pinctrl-single,pins = <
			DRA7XX_CORE_IOPAD(0x3688, MUX_MODE15 | PULL_UP)	/* dcan2_tx.off */
			DRA7XX_CORE_IOPAD(0x368c, MUX_MODE15 | PULL_UP)	/* dcan2_rx.off */
		>;
	};
	mmc1_pins_default: mmc1_pins_default {
		pinctrl-single,pins = <
			0x354 (PIN_INPUT_PULLUP | MUX_MODE0) /* mmc1_clk.clk */
			0x358 (PIN_INPUT_PULLUP | MUX_MODE0) /* mmc1_cmd.cmd */
			0x35c (PIN_INPUT_PULLUP | MUX_MODE0) /* mmc1_dat0.dat0 */
			0x360 (PIN_INPUT_PULLUP | MUX_MODE0) /* mmc1_dat1.dat1 */
			0x364 (PIN_INPUT_PULLUP | MUX_MODE0) /* mmc1_dat2.dat2 */
			0x368 (PIN_INPUT_PULLUP | MUX_MODE0) /* mmc1_dat3.dat3 */
		>;
	};

	mmc1_pins_sdr12: pinmux_mmc1_sdr12_pins {
		pinctrl-single,pins = <
			0x354 (PIN_INPUT_PULLUP | MUX_MODE0)	/* mmc1_clk.clk */
			0x358 (PIN_INPUT_PULLUP | MUX_MODE0)	/* mmc1_cmd.cmd */
			0x35c (PIN_INPUT_PULLUP | MUX_MODE0)	/* mmc1_dat0.dat0 */
			0x360 (PIN_INPUT_PULLUP | MUX_MODE0)	/* mmc1_dat1.dat1 */
			0x364 (PIN_INPUT_PULLUP | MUX_MODE0)	/* mmc1_dat2.dat2 */
			0x368 (PIN_INPUT_PULLUP | MUX_MODE0)	/* mmc1_dat3.dat3 */
		>;
	};

	mmc1_pins_hs: mmc1_pins_hs {
		pinctrl-single,pins = <
			0x354 (PIN_INPUT_PULLUP | MUX_VIRTUAL_MODE11 | MUX_MODE0) /* mmc1_clk.clk */
			0x358 (PIN_INPUT_PULLUP | MUX_VIRTUAL_MODE11 | MUX_MODE0) /* mmc1_cmd.cmd */
			0x35c (PIN_INPUT_PULLUP | MUX_VIRTUAL_MODE11 | MUX_MODE0) /* mmc1_dat0.dat0 */
			0x360 (PIN_INPUT_PULLUP | MUX_VIRTUAL_MODE11 | MUX_MODE0) /* mmc1_dat1.dat1 */
			0x364 (PIN_INPUT_PULLUP | MUX_VIRTUAL_MODE11 | MUX_MODE0) /* mmc1_dat2.dat2 */
			0x368 (PIN_INPUT_PULLUP | MUX_VIRTUAL_MODE11 | MUX_MODE0) /* mmc1_dat3.dat3 */
		>;
	};

	mmc1_pins_sdr25: pinmux_mmc1_sdr25_pins {
		pinctrl-single,pins = <
			0x354 (PIN_INPUT_PULLUP | MUX_VIRTUAL_MODE11 | MUX_MODE0)	/* mmc1_clk.clk */
			0x358 (PIN_INPUT_PULLUP | MUX_VIRTUAL_MODE11 | MUX_MODE0)	/* mmc1_cmd.cmd */
			0x35c (PIN_INPUT_PULLUP | MUX_VIRTUAL_MODE11 | MUX_MODE0)	/* mmc1_dat0.dat0 */
			0x360 (PIN_INPUT_PULLUP | MUX_VIRTUAL_MODE11 | MUX_MODE0)	/* mmc1_dat1.dat1 */
			0x364 (PIN_INPUT_PULLUP | MUX_VIRTUAL_MODE11 | MUX_MODE0)	/* mmc1_dat2.dat2 */
			0x368 (PIN_INPUT_PULLUP | MUX_VIRTUAL_MODE11 | MUX_MODE0)	/* mmc1_dat3.dat3 */
		>;
	};

	mmc1_pins_sdr50: pinmux_mmc1_sdr50_pins {
		pinctrl-single,pins = <
			0x354 (PIN_INPUT_PULLUP | MUX_VIRTUAL_MODE10 | MUX_MODE0)	/* mmc1_clk.clk */
			0x358 (PIN_INPUT_PULLUP | MUX_VIRTUAL_MODE10 | MUX_MODE0)	/* mmc1_cmd.cmd */
			0x35c (PIN_INPUT_PULLUP | MUX_VIRTUAL_MODE10 | MUX_MODE0)	/* mmc1_dat0.dat0 */
			0x360 (PIN_INPUT_PULLUP | MUX_VIRTUAL_MODE10 | MUX_MODE0)	/* mmc1_dat1.dat1 */
			0x364 (PIN_INPUT_PULLUP | MUX_VIRTUAL_MODE10 | MUX_MODE0)	/* mmc1_dat2.dat2 */
			0x368 (PIN_INPUT_PULLUP | MUX_VIRTUAL_MODE10 | MUX_MODE0)	/* mmc1_dat3.dat3 */
		>;
	};

	mmc1_pins_ddr50: pinmux_mmc1_ddr50_pins {
		pinctrl-single,pins = <
			0x354 (PIN_INPUT_PULLUP | MODE_SELECT | MUX_MODE0)	/* mmc1_clk.clk */
			0x358 (PIN_INPUT_PULLUP | MODE_SELECT | MUX_MODE0)	/* mmc1_cmd.cmd */
			0x35c (PIN_INPUT_PULLUP | MODE_SELECT | MUX_MODE0)	/* mmc1_dat0.dat0 */
			0x360 (PIN_INPUT_PULLUP | MODE_SELECT | MUX_MODE0)	/* mmc1_dat1.dat1 */
			0x364 (PIN_INPUT_PULLUP | MODE_SELECT | MUX_MODE0)	/* mmc1_dat2.dat2 */
			0x368 (PIN_INPUT_PULLUP | MODE_SELECT | MUX_MODE0)	/* mmc1_dat3.dat3 */
		>;
	};

	mmc1_pins_sdr104: pinmux_mmc1_sdr104_pins {
		pinctrl-single,pins = <
			0x354 (PIN_INPUT_PULLUP | MODE_SELECT | MUX_MODE0)	/* mmc1_clk.clk */
			0x358 (PIN_INPUT_PULLUP | MODE_SELECT | MUX_MODE0)	/* mmc1_cmd.cmd */
			0x35c (PIN_INPUT_PULLUP | MODE_SELECT | MUX_MODE0)	/* mmc1_dat0.dat0 */
			0x360 (PIN_INPUT_PULLUP | MODE_SELECT | MUX_MODE0)	/* mmc1_dat1.dat1 */
			0x364 (PIN_INPUT_PULLUP | MODE_SELECT | MUX_MODE0)	/* mmc1_dat2.dat2 */
			0x368 (PIN_INPUT_PULLUP | MODE_SELECT | MUX_MODE0)	/* mmc1_dat3.dat3 */
		>;
	};

	mmc2_pins_default: mmc2_pins_default {
		pinctrl-single,pins = <
			0x9c (PIN_INPUT_PULLUP | MUX_MODE1) /* gpmc_a23.mmc2_clk */
			0xb0 (PIN_INPUT_PULLUP | MUX_MODE1) /* gpmc_cs1.mmc2_cmd */
			0xa0 (PIN_INPUT_PULLUP | MUX_MODE1) /* gpmc_a24.mmc2_dat0 */
			0xa4 (PIN_INPUT_PULLUP | MUX_MODE1) /* gpmc_a25.mmc2_dat1 */
			0xa8 (PIN_INPUT_PULLUP | MUX_MODE1) /* gpmc_a26.mmc2_dat2 */
			0xac (PIN_INPUT_PULLUP | MUX_MODE1) /* gpmc_a27.mmc2_dat3 */
			0x8c (PIN_INPUT_PULLUP | MUX_MODE1) /* gpmc_a19.mmc2_dat4 */
			0x90 (PIN_INPUT_PULLUP | MUX_MODE1) /* gpmc_a20.mmc2_dat5 */
			0x94 (PIN_INPUT_PULLUP | MUX_MODE1) /* gpmc_a21.mmc2_dat6 */
			0x98 (PIN_INPUT_PULLUP | MUX_MODE1) /* gpmc_a22.mmc2_dat7 */
		>;
	};

	mmc2_pins_hs: mmc2_pins_hs {
		pinctrl-single,pins = <
			0x9c (PIN_INPUT_PULLUP | MUX_MODE1) /* gpmc_a23.mmc2_clk */
			0xb0 (PIN_INPUT_PULLUP | MUX_MODE1) /* gpmc_cs1.mmc2_cmd */
			0xa0 (PIN_INPUT_PULLUP | MUX_MODE1) /* gpmc_a24.mmc2_dat0 */
			0xa4 (PIN_INPUT_PULLUP | MUX_MODE1) /* gpmc_a25.mmc2_dat1 */
			0xa8 (PIN_INPUT_PULLUP | MUX_MODE1) /* gpmc_a26.mmc2_dat2 */
			0xac (PIN_INPUT_PULLUP | MUX_MODE1) /* gpmc_a27.mmc2_dat3 */
			0x8c (PIN_INPUT_PULLUP | MUX_MODE1) /* gpmc_a19.mmc2_dat4 */
			0x90 (PIN_INPUT_PULLUP | MUX_MODE1) /* gpmc_a20.mmc2_dat5 */
			0x94 (PIN_INPUT_PULLUP | MUX_MODE1) /* gpmc_a21.mmc2_dat6 */
			0x98 (PIN_INPUT_PULLUP | MUX_MODE1) /* gpmc_a22.mmc2_dat7 */
		>;
	};

	mmc2_pins_ddr_1_8v: mmc2_pins_ddr_1_8v {
		pinctrl-single,pins = <
			0x9c (PIN_INPUT_PULLUP | MODE_SELECT | MUX_MODE1) /* gpmc_a23.mmc2_clk */
			0xb0 (PIN_INPUT_PULLUP | MODE_SELECT | MUX_MODE1) /* gpmc_cs1.mmc2_cmd */
			0xa0 (PIN_INPUT_PULLUP | MODE_SELECT | MUX_MODE1) /* gpmc_a24.mmc2_dat0 */
			0xa4 (PIN_INPUT_PULLUP | MODE_SELECT | MUX_MODE1) /* gpmc_a25.mmc2_dat1 */
			0xa8 (PIN_INPUT_PULLUP | MODE_SELECT | MUX_MODE1) /* gpmc_a26.mmc2_dat2 */
			0xac (PIN_INPUT_PULLUP | MODE_SELECT | MUX_MODE1) /* gpmc_a27.mmc2_dat3 */
			0x8c (PIN_INPUT_PULLUP | MODE_SELECT | MUX_MODE1) /* gpmc_a19.mmc2_dat4 */
			0x90 (PIN_INPUT_PULLUP | MODE_SELECT | MUX_MODE1) /* gpmc_a20.mmc2_dat5 */
			0x94 (PIN_INPUT_PULLUP | MODE_SELECT | MUX_MODE1) /* gpmc_a21.mmc2_dat6 */
			0x98 (PIN_INPUT_PULLUP | MODE_SELECT | MUX_MODE1) /* gpmc_a22.mmc2_dat7 */
		>;
	};

        qspi1_pins_default: qspi1_pins_default {
                pinctrl-single,pins = <
                        DRA7XX_CORE_IOPAD(0x3488, (PIN_INPUT_PULLUP | MUX_MODE1)) /* gpmc_a18.qspi1_sclk */
                        DRA7XX_CORE_IOPAD(0x3474, (PIN_INPUT_PULLUP | MUX_MODE1)) /* gpmc_a13.qspi1_rtclk */
                        DRA7XX_CORE_IOPAD(0x3480, (PIN_INPUT_PULLUP | MUX_MODE1)) /* gpmc_a16.qspi1_d0 */
                        DRA7XX_CORE_IOPAD(0x3484, (PIN_INPUT_PULLUP | MUX_MODE1)) /* gpmc_a17.qspi1_d1 */
                        DRA7XX_CORE_IOPAD(0x347c, (PIN_INPUT_PULLUP | MUX_MODE1)) /* gpmc_a15.qspi1_d2 */
                        DRA7XX_CORE_IOPAD(0x3478, (PIN_INPUT_PULLUP | MUX_MODE1)) /* gpmc_a14.qspi1_d3 */
                        DRA7XX_CORE_IOPAD(0x34b8, (PIN_INPUT_PULLUP | MUX_MODE1)) /* gpmc_cs2.qspi1_cs0 */
                >;
        };

        spi3_pins: spi3_pins {
                pinctrl-single,pins = <
                        DRA7XX_CORE_IOPAD(0x36d4, (INPUT_EN | MUX_MODE3))          /* mcasp1_axr8.spi3_sclk (B12) */
                        DRA7XX_CORE_IOPAD(0x36d8, (INPUT_EN | MUX_MODE3))          /* mcasp1_axr9.spi3_d1 (A11) */
                        DRA7XX_CORE_IOPAD(0x36dc, (INPUT_EN | MUX_MODE3))          /* mcasp1_axr10.spi3_d0 (B13) */
                        DRA7XX_CORE_IOPAD(0x36e0, (PIN_OUTPUT_PULLUP | MUX_MODE3)) /* mcasp1_axr11.spi3_cs0 (A12) */
                >;
        };

};

&dra7_iodelay_core {
	mmc1_iodelay_ddr50_conf: mmc1_iodelay_ddr50_conf {
		pinctrl-pin-array = <
			0x618 A_DELAY_PS(0) G_DELAY_PS(0)		/* CFG_MMC1_CLK_IN */
			0x624 A_DELAY_PS(0) G_DELAY_PS(0)		/* CFG_MMC1_CMD_IN */
			0x630 A_DELAY_PS(495) G_DELAY_PS(0)	/* CFG_MMC1_DAT0_IN */
			0x63C A_DELAY_PS(116) G_DELAY_PS(0)	/* CFG_MMC1_DAT1_IN */
			0x648 A_DELAY_PS(117) G_DELAY_PS(0)	/* CFG_MMC1_DAT2_IN */
			0x654 A_DELAY_PS(32) G_DELAY_PS(0)	/* CFG_MMC1_DAT3_IN */
			0x620 A_DELAY_PS(1224) G_DELAY_PS(0)	/* CFG_MMC1_CLK_OUT */
			0x62C A_DELAY_PS(0) G_DELAY_PS(0)		/* CFG_MMC1_CMD_OUT */
			0x638 A_DELAY_PS(44) G_DELAY_PS(0)	/* CFG_MMC1_DAT0_OUT */
			0x644 A_DELAY_PS(64) G_DELAY_PS(0)	/* CFG_MMC1_DAT1_OUT */
			0x650 A_DELAY_PS(79) G_DELAY_PS(0)	/* CFG_MMC1_DAT2_OUT */
			0x65C A_DELAY_PS(87) G_DELAY_PS(0)	/* CFG_MMC1_DAT3_OUT */
			0x628 A_DELAY_PS(0) G_DELAY_PS(0)		/* CFG_MMC1_CMD_OEN */
			0x634 A_DELAY_PS(0) G_DELAY_PS(0)		/* CFG_MMC1_DAT0_OEN */
			0x640 A_DELAY_PS(0) G_DELAY_PS(0)		/* CFG_MMC1_DAT1_OEN */
			0x64C A_DELAY_PS(0) G_DELAY_PS(0)		/* CFG_MMC1_DAT2_OEN */
			0x658 A_DELAY_PS(0) G_DELAY_PS(0)		/* CFG_MMC1_DAT3_OEN */
		>;
	};

	mmc1_iodelay_sdr104_conf: mmc1_iodelay_sdr104_conf {
		pinctrl-pin-array = <
			0x620 A_DELAY_PS(520) G_DELAY_PS(320)	/* CFG_MMC1_CLK_OUT */
			0x62c A_DELAY_PS(0) G_DELAY_PS(0)		/* CFG_MMC1_CMD_OUT */
			0x638 A_DELAY_PS(40) G_DELAY_PS(0)	/* CFG_MMC1_DAT0_OUT */
			0x644 A_DELAY_PS(83) G_DELAY_PS(0)	/* CFG_MMC1_DAT1_OUT */
			0x650 A_DELAY_PS(98) G_DELAY_PS(0)	/* CFG_MMC1_DAT2_OUT */
			0x65c A_DELAY_PS(106) G_DELAY_PS(0)	/* CFG_MMC1_DAT3_OUT */
			0x628 A_DELAY_PS(51) G_DELAY_PS(0)	/* CFG_MMC1_CMD_OEN */
			0x634 A_DELAY_PS(0) G_DELAY_PS(0)		/* CFG_MMC1_DAT0_OEN */
			0x640 A_DELAY_PS(363) G_DELAY_PS(0)	/* CFG_MMC1_DAT1_OEN */
			0x64c A_DELAY_PS(199) G_DELAY_PS(0)	/* CFG_MMC1_DAT2_OEN */
			0x658 A_DELAY_PS(273) G_DELAY_PS(0)	/* CFG_MMC1_DAT3_OEN */
		>;
	};

	mmc2_iodelay_ddr_1_8v_conf: mmc2_iodelay_ddr_1_8v_conf {
		pinctrl-pin-array = <
			0x18c A_DELAY_PS(0) G_DELAY_PS(0)		/* CFG_GPMC_A19_IN */
			0x1a4 A_DELAY_PS(121) G_DELAY_PS(0)	/* CFG_GPMC_A20_IN */
			0x1b0 A_DELAY_PS(0) G_DELAY_PS(0)		/* CFG_GPMC_A21_IN */
			0x1bc A_DELAY_PS(20) G_DELAY_PS(0)	/* CFG_GPMC_A22_IN */
			0x1c8 A_DELAY_PS(108) G_DELAY_PS(0)	/* CFG_GPMC_A23_IN */
			0x1d4 A_DELAY_PS(31) G_DELAY_PS(0)	/* CFG_GPMC_A24_IN */
			0x1e0 A_DELAY_PS(0) G_DELAY_PS(0)		/* CFG_GPMC_A25_IN */
			0x1ec A_DELAY_PS(24) G_DELAY_PS(0)	/* CFG_GPMC_A26_IN */
			0x1f8 A_DELAY_PS(0) G_DELAY_PS(0)		/* CFG_GPMC_A27_IN */
			0x360 A_DELAY_PS(0) G_DELAY_PS(0)		/* CFG_GPMC_CS1_IN */
			0x194 A_DELAY_PS(152) G_DELAY_PS(0)	/* CFG_GPMC_A19_OUT */
			0x1ac A_DELAY_PS(206) G_DELAY_PS(0)	/* CFG_GPMC_A20_OUT */
			0x1b8 A_DELAY_PS(78) G_DELAY_PS(0)	/* CFG_GPMC_A21_OUT */
			0x1c4 A_DELAY_PS(2) G_DELAY_PS(0)		/* CFG_GPMC_A22_OUT */
			0x1d0 A_DELAY_PS(266) G_DELAY_PS(0)	/* CFG_GPMC_A23_OUT */
			0x1dc A_DELAY_PS(0) G_DELAY_PS(0)		/* CFG_GPMC_A24_OUT */
			0x1e8 A_DELAY_PS(0) G_DELAY_PS(0)		/* CFG_GPMC_A25_OUT */
			0x1f4 A_DELAY_PS(43) G_DELAY_PS(0)	/* CFG_GPMC_A26_OUT */
			0x200 A_DELAY_PS(0) G_DELAY_PS(0)		/* CFG_GPMC_A27_OUT */
			0x368 A_DELAY_PS(0) G_DELAY_PS(0)		/* CFG_GPMC_CS1_OUT */
			0x190 A_DELAY_PS(0) G_DELAY_PS(0)		/* CFG_GPMC_A19_OEN */
			0x1a8 A_DELAY_PS(0) G_DELAY_PS(0)		/* CFG_GPMC_A20_OEN */
			0x1b4 A_DELAY_PS(0) G_DELAY_PS(0)		/* CFG_GPMC_A21_OEN */
			0x1c0 A_DELAY_PS(0) G_DELAY_PS(0)		/* CFG_GPMC_A22_OEN */
			0x1d8 A_DELAY_PS(0) G_DELAY_PS(0)		/* CFG_GPMC_A24_OEN */
			0x1e4 A_DELAY_PS(0) G_DELAY_PS(0)		/* CFG_GPMC_A25_OEN */
			0x1f0 A_DELAY_PS(0) G_DELAY_PS(0)		/* CFG_GPMC_A26_OEN */
			0x1fc A_DELAY_PS(0) G_DELAY_PS(0)		/* CFG_GPMC_A27_OEN */
			0x364 A_DELAY_PS(0) G_DELAY_PS(0)		/* CFG_GPMC_CS1_OEN */
		>;
	};
};
